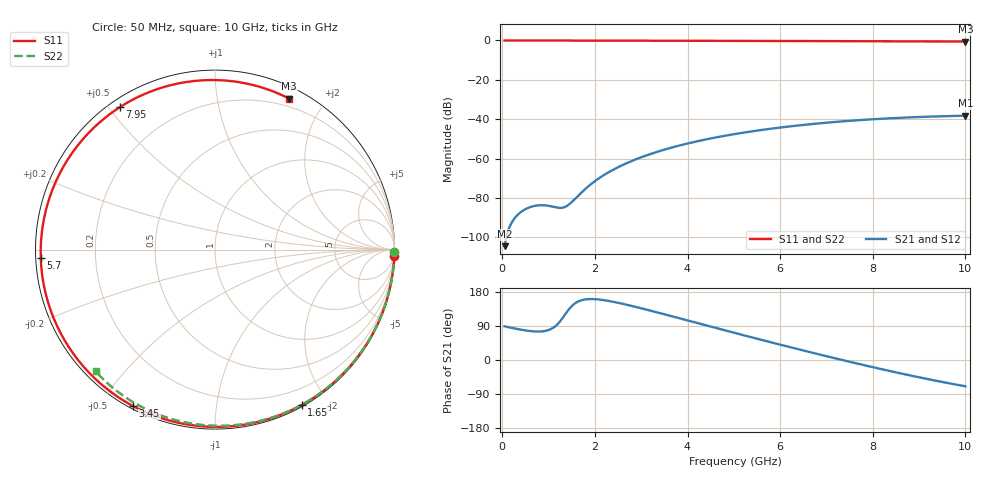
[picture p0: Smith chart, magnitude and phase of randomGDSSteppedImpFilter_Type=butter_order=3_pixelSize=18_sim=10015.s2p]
! freq	dB(S11)	phase(S11)	dB(S12)	phase(S12)
!  dB(S21)	phase(S21)	dB(S22)	phase(S22)
!S-par simulation data
#  GHz  S  DB  R 50
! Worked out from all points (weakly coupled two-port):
!   200 points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, 50 MHz to 10 GHz, reference 50 ohm
!   highest |S21| = -38.20 dB at 10 GHz (marker M1); lowest = -104.5 dB at 50 MHz (marker M2)
!   lowest |S11| = -0.6 dB at 10 GHz (marker M3), VSWR 30.79, Z = 5.8 + j80 ohm
!   |S11| at or under -10 dB: nowhere
!   |S22| runs from -0.4 to 0.0 dB; largest |S21 - S12| = 0
!   S11 on the Smith chart (normalised r, x): 50 MHz: 0, -59; 1.65 GHz: 0.02, -1.70; 3.45 GHz: 0.01, -0.61; 5.7 GHz: 0.01, -0.02; 7.95 GHz: 0.03, +0.53; 10 GHz: 0.12, +1.60
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0.05  -0.00 -1.9  -104.47 88.9  -104.47 88.9  -0.00 -0.8
0.4  -0.02 -15.3  -87.15 80.1  -87.15 80.1  -0.01 -6.2
0.8  -0.04 -30.3  -83.70 75.2  -83.70 75.2  -0.02 -12.3
1.55  -0.07 -57.4  -80.92 147.6  -80.92 147.6  -0.03 -23.6
1.6  -0.07 -59.2  -79.74 151.8  -79.74 151.8  -0.03 -24.4
1.65  -0.08 -60.9  -78.56 155.0  -78.56 155.0  -0.03 -25.1
1.75  -0.08 -64.3  -76.30 158.9  -76.30 158.9  -0.03 -26.6
2.05  -0.09 -74.5  -70.60 160.1  -70.60 160.1  -0.04 -31.1
2.45  -0.10 -87.5  -64.97 152.3  -64.97 152.3  -0.05 -37.0
2.9  -0.12 -101.4  -60.22 139.5  -60.22 139.5  -0.06 -43.6
3.4  -0.14 -116.2  -56.15 123.9  -56.15 123.9  -0.07 -50.7
3.45  -0.14 -117.6  -55.79 122.3  -55.79 122.3  -0.07 -51.4
4.25  -0.17 -139.7  -50.99 96.3  -50.99 96.3  -0.09 -62.6
5.05  -0.21 -160.7  -47.41 70.5  -47.41 70.5  -0.11 -73.4
5.7  -0.25 -177.4  -45.13 49.9  -45.13 49.9  -0.14 -82.0
6.2  -0.28 169.9  -43.67 34.3  -43.67 34.3  -0.16 -88.4
6.7  -0.31 157.1  -42.42 19.0  -42.42 19.0  -0.18 -94.7
7.3  -0.36 141.3  -41.17 1.2  -41.17 1.2  -0.22 -102.1
7.95  -0.41 123.8  -40.09 -17.5  -40.09 -17.5  -0.26 -110.0
8.35  -0.44 112.6  -39.55 -28.6  -39.55 -28.6  -0.29 -114.8
9.2  -0.50 88.0  -38.71 -50.7  -38.71 -50.7  -0.36 -124.9
10  -0.56 63.8  -38.20 -69.4  -38.20 -69.4  -0.45 -134.5
